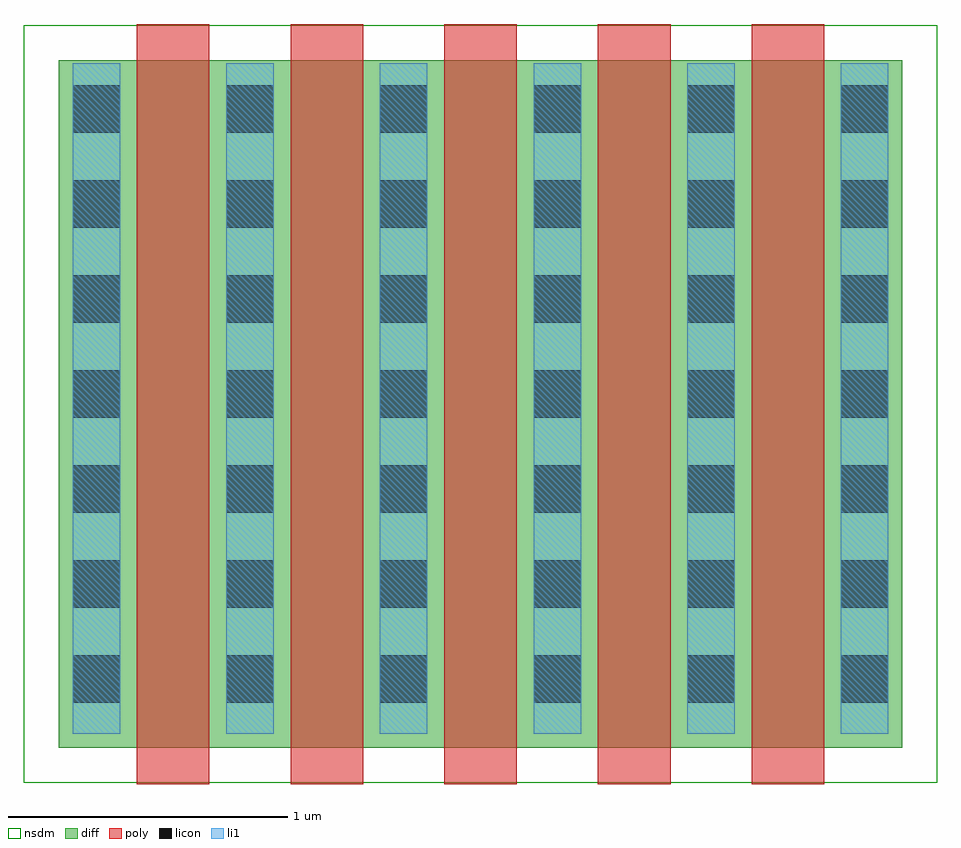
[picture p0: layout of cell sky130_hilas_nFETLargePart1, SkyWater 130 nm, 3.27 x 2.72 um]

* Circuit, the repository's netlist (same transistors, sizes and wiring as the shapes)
* Copyright 2020 The Hilas PDK Authors
* 
* This file is part of HILAS.
* 
* HILAS is free software: you can redistribute it and/or modify
* it under the terms of the GNU Lesser General Public License as published by
* the Free Software Foundation, version 3 of the License.
* 
* HILAS is distributed in the hope that it will be useful,
* but WITHOUT ANY WARRANTY; without even the implied warranty of
* MERCHANTABILITY or FITNESS FOR A PARTICULAR PURPOSE.  See the
* GNU Lesser General Public License for more details.
* 
* You should have received a copy of the GNU Lesser General Public License
* along with HILAS.  If not, see <https://www.gnu.org/licenses/>.
* 
* Licensed under the Lesser General Public License, Version 3.0 (the "License");
* you may not use this file except in compliance with the License.
* You may obtain a copy of the License at
* 
* https://www.gnu.org/licenses/lgpl-3.0.en.html
* 
* Unless required by applicable law or agreed to in writing, software
* distributed under the License is distributed on an "AS IS" BASIS,
* WITHOUT WARRANTIES OR CONDITIONS OF ANY KIND, either express or implied.
* See the License for the specific language governing permissions and
* limitations under the License.
* 
* SPDX-License-Identifier: LGPL-3.0
* 
* 

* NGSPICE file created from sky130_hilas_nFETLargePart1.ext - technology: sky130A

.subckt sky130_hilas_nFETmed SUB a_84_n62# a_n24_n62#
X0 a_84_n62# a_32_n88# a_n24_n62# SUB sky130_fd_pr__nfet_01v8 w=2.46e+06u l=260000u
.ends


* Top level circuit sky130_hilas_nFETLargePart1

Xsky130_hilas_nFETmed_0 SUB sky130_hilas_nFETmed_0/a_84_n62# sky130_hilas_nFETmed_4/a_84_n62#
+ sky130_hilas_nFETmed
Xsky130_hilas_nFETmed_1 SUB sky130_hilas_nFETmed_1/a_84_n62# sky130_hilas_nFETmed_0/a_84_n62#
+ sky130_hilas_nFETmed
Xsky130_hilas_nFETmed_2 SUB sky130_hilas_nFETmed_2/a_84_n62# sky130_hilas_nFETmed_1/a_84_n62#
+ sky130_hilas_nFETmed
Xsky130_hilas_nFETmed_3 SUB sky130_hilas_nFETmed_3/a_84_n62# sky130_hilas_nFETmed_2/a_84_n62#
+ sky130_hilas_nFETmed
Xsky130_hilas_nFETmed_4 SUB sky130_hilas_nFETmed_4/a_84_n62# sky130_hilas_nFETmed_4/a_n24_n62#
+ sky130_hilas_nFETmed
.end

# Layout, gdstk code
import gdstk
lib = gdstk.Library(unit=1e-6, precision=1e-09)
def R(c, l, rs):  # rectangles x0, y0, x1, y1
    for r in rs: c.add(gdstk.rectangle(r[:2], r[2:], *l))
def A(c, l, x, y, w, h, nx, ny, dx, dy):  # array of equal rectangles
    R(c, l, [(x+i*dx, y+j*dy, x+i*dx+w, y+j*dy+h) for i in range(nx) for j in range(ny)])
diff = (65, 20)
poly = (66, 20)
licon = (66, 44)
li1 = (67, 20)
nsdm = (93, 44)

sky130_hilas_nfetmed = lib.new_cell('sky130_hilas_nFETmed')
R(sky130_hilas_nfetmed, diff, [(-0.12,-0.31,0.7,2.15)])
R(sky130_hilas_nfetmed, poly, [(0.16,-0.44,0.42,2.28)])
A(sky130_hilas_nfetmed, licon, -0.07, -0.15, 0.17, 0.17, 1, 7, 0, 0.34)
A(sky130_hilas_nfetmed, licon, 0.48, -0.15, 0.17, 0.17, 1, 7, 0, 0.34)
R(sky130_hilas_nfetmed, li1, [(-0.07,-0.26,0.1,2.14), (0.48,-0.26,0.65,2.14)])
R(sky130_hilas_nfetmed, nsdm, [(-0.245,-0.435,0.825,2.275)])

sky130_hilas_nfetlargepa = lib.new_cell('sky130_hilas_nFETLargePart1')
sky130_hilas_nfetlargepa.add(gdstk.Reference(sky130_hilas_nfetmed, (0.12,0.13)))
sky130_hilas_nfetlargepa.add(gdstk.Reference(sky130_hilas_nfetmed, (-0.43,0.13)))
sky130_hilas_nfetlargepa.add(gdstk.Reference(sky130_hilas_nfetmed, (-0.98,0.13)))
sky130_hilas_nfetlargepa.add(gdstk.Reference(sky130_hilas_nfetmed, (-1.53,0.13)))
sky130_hilas_nfetlargepa.add(gdstk.Reference(sky130_hilas_nfetmed, (0.67,0.13)))

lib.write_gds('sky130_hilas_nFETLargePart1.gds')
